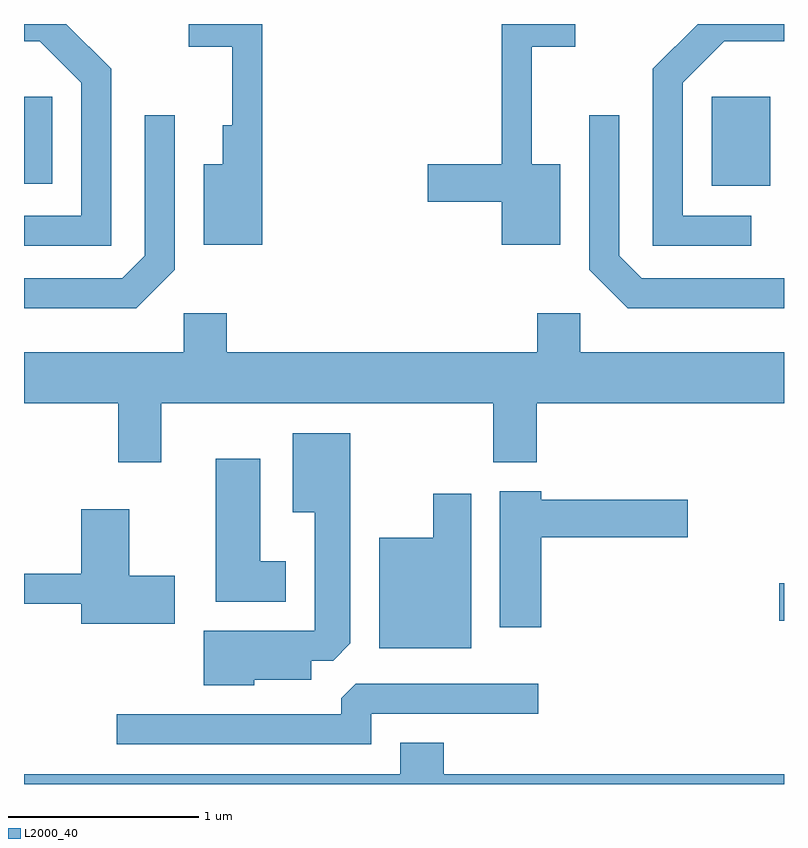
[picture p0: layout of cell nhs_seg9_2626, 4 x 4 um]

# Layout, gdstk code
import gdstk
lib = gdstk.Library(unit=1e-6, precision=1e-09)
def R(c, l, rs):  # rectangles x0, y0, x1, y1
    for r in rs: c.add(gdstk.rectangle(r[:2], r[2:], *l))
def P(c, l, *ps):  # polygons
    for p in ps: c.add(gdstk.Polygon(p, *l))
L2000_40 = (2000, 40)

nhs_seg9_2626 = lib.new_cell('nhs_seg9_2626')
R(nhs_seg9_2626, L2000_40, [(265.586,2037.291,265.611,2037.489), (265.231,2039.581,265.539,2040.049), (261.611,2039.591,261.759,2040.049)])
P(nhs_seg9_2626, L2000_40, [(264.434,2039.694),(264.284,2039.694),(264.284,2040.311),(264.513,2040.311),(264.513,2040.432),(264.126,2040.432),(264.126,2039.694),(263.736,2039.694),(263.736,2039.496),(264.126,2039.496),(264.126,2039.271),(264.434,2039.271)],
  [(262.864,2040.432),(262.478,2040.432),(262.478,2040.311),(262.706,2040.311),(262.706,2039.899),(262.656,2039.899),(262.656,2039.694),(262.556,2039.694),(262.556,2039.271),(262.864,2039.271)],
  [(265.438,2039.424),(265.079,2039.424),(265.079,2040.124),(265.297,2040.341),(265.611,2040.341),(265.611,2040.432),(265.157,2040.432),(264.921,2040.197),(264.921,2039.266),(265.438,2039.266)],
  [(262.069,2040.197),(261.834,2040.432),(261.611,2040.432),(261.611,2040.341),(261.694,2040.341),(261.911,2040.124),(261.911,2039.424),(261.611,2039.424),(261.611,2039.266),(262.069,2039.266)],
  [(262.404,2039.139),(262.404,2039.953),(262.246,2039.953),(262.246,2039.212),(262.129,2039.094),(261.611,2039.094),(261.611,2038.936),(262.202,2038.936)],
  [(265.611,2039.094),(264.862,2039.094),(264.744,2039.212),(264.744,2039.953),(264.586,2039.953),(264.586,2039.139),(264.789,2038.936),(265.611,2038.936)],
  [(262.334,2038.436),(264.081,2038.436),(264.081,2038.126),(264.309,2038.126),(264.309,2038.436),(265.611,2038.436),(265.611,2038.704),(264.539,2038.704),(264.539,2038.909),(264.311,2038.909),(264.311,2038.704),(262.679,2038.704),(262.679,2038.909),(262.451,2038.909),(262.451,2038.704),(261.611,2038.704),(261.611,2038.436),(262.106,2038.436),(262.106,2038.126),(262.334,2038.126)],
  [(262.824,2036.981),(263.124,2036.981),(263.124,2037.081),(263.239,2037.081),(263.329,2037.172),(263.329,2038.279),(263.026,2038.279),(263.026,2037.861),(263.141,2037.861),(263.141,2037.239),(262.556,2037.239),(262.556,2036.951),(262.824,2036.951)],
  [(262.989,2037.604),(262.854,2037.604),(262.854,2038.144),(262.621,2038.144),(262.621,2037.391),(262.989,2037.391)],
  [(264.334,2037.731),(265.104,2037.731),(265.104,2037.929),(264.334,2037.929),(264.334,2037.974),(264.116,2037.974),(264.116,2037.256),(264.334,2037.256)],
  [(263.964,2037.959),(263.766,2037.959),(263.766,2037.729),(263.481,2037.729),(263.481,2037.146),(263.964,2037.146)],
  [(262.404,2037.529),(262.164,2037.529),(262.164,2037.879),(261.911,2037.879),(261.911,2037.539),(261.611,2037.539),(261.611,2037.381),(261.911,2037.381),(261.911,2037.276),(262.404,2037.276)],
  [(263.439,2036.801),(264.318,2036.801),(264.318,2036.959),(263.357,2036.959),(263.281,2036.884),(263.281,2036.799),(262.098,2036.799),(262.098,2036.641),(263.439,2036.641)],
  [(265.611,2036.484),(263.819,2036.484),(263.819,2036.649),(263.591,2036.649),(263.591,2036.484),(261.611,2036.484),(261.611,2036.432),(265.611,2036.432)])

lib.write_gds('nhs_seg9_2626.gds')
